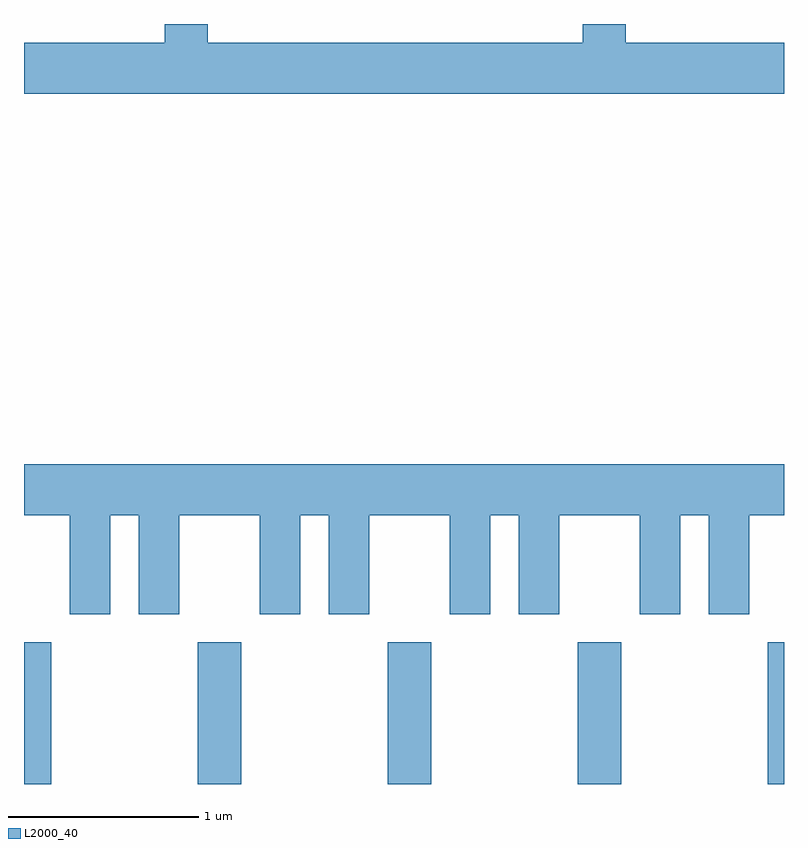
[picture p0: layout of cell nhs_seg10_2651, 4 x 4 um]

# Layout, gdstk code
import gdstk
lib = gdstk.Library(unit=1e-6, precision=1e-09)
def R(c, l, rs):  # rectangles x0, y0, x1, y1
    for r in rs: c.add(gdstk.rectangle(r[:2], r[2:], *l))
def A(c, l, x, y, w, h, nx, ny, dx, dy):  # array of equal rectangles
    R(c, l, [(x+i*dx, y+j*dy, x+i*dx+w, y+j*dy+h) for i in range(nx) for j in range(ny)])
def P(c, l, *ps):  # polygons
    for p in ps: c.add(gdstk.Polygon(p, *l))
L2000_40 = (2000, 40)

nhs_seg10_2651 = lib.new_cell('nhs_seg10_2651')
A(nhs_seg10_2651, L2000_40, 264.526, 2092.522, 0.228, 0.747, 3, 1, 1, 0)
R(nhs_seg10_2651, L2000_40, [(263.611,2092.522,263.754,2093.269), (267.526,2092.522,267.611,2093.269)])
P(nhs_seg10_2651, L2000_40, [(267.611,2096.424),(266.779,2096.424),(266.779,2096.522),(266.551,2096.522),(266.551,2096.424),(264.579,2096.424),(264.579,2096.522),(264.351,2096.522),(264.351,2096.424),(263.611,2096.424),(263.611,2096.156),(267.611,2096.156)],
  [(264.064,2093.936),(264.216,2093.936),(264.216,2093.416),(264.429,2093.416),(264.429,2093.936),(264.851,2093.936),(264.851,2093.416),(265.064,2093.416),(265.064,2093.936),(265.216,2093.936),(265.216,2093.416),(265.429,2093.416),(265.429,2093.936),(265.851,2093.936),(265.851,2093.416),(266.064,2093.416),(266.064,2093.936),(266.216,2093.936),(266.216,2093.416),(266.429,2093.416),(266.429,2093.936),(266.851,2093.936),(266.851,2093.416),(267.064,2093.416),(267.064,2093.936),(267.216,2093.936),(267.216,2093.416),(267.429,2093.416),(267.429,2093.936),(267.611,2093.936),(267.611,2094.204),(263.611,2094.204),(263.611,2093.936),(263.851,2093.936),(263.851,2093.416),(264.064,2093.416)])

lib.write_gds('nhs_seg10_2651.gds')
